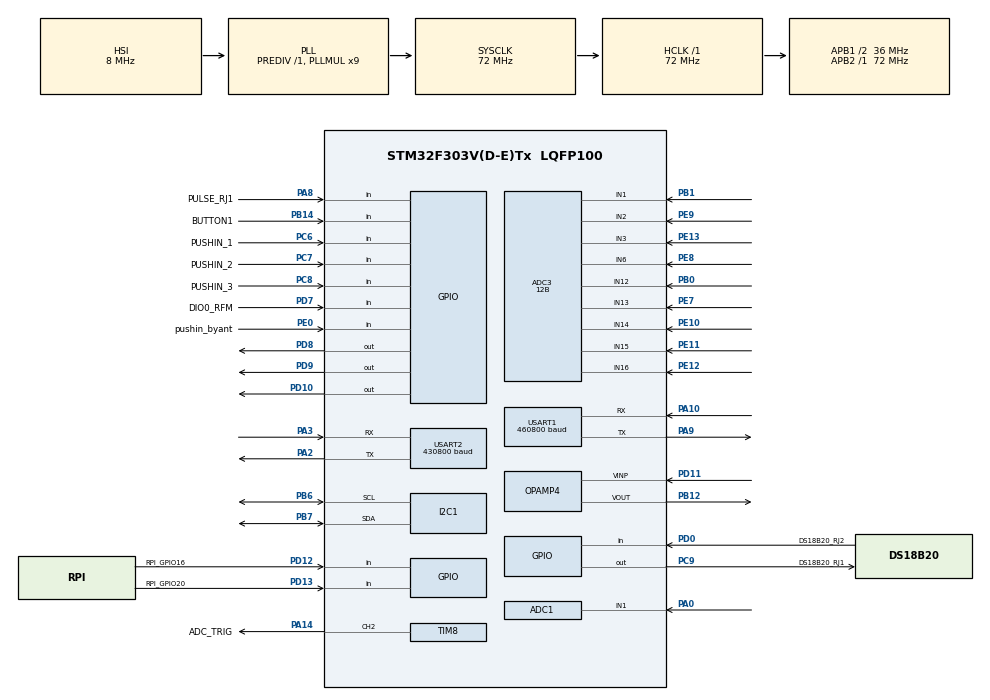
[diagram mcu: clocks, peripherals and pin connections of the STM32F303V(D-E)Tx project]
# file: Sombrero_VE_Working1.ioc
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ADC1.Channel-0\#ChannelRegularConversion=ADC_CHANNEL_1
ADC1.ClockPrescaler=ADC_CLOCK_SYNC_PCLK_DIV4
ADC1.ContinuousConvMode=ENABLE
ADC1.DMAContinuousRequests=ENABLE
ADC1.DataAlign=ADC_DATAALIGN_RIGHT
ADC1.DiscontinuousConvMode=DISABLE
ADC1.EOCSelection=ADC_EOC_SEQ_CONV
ADC1.EnableAnalogWatchDog1=false
ADC1.EnableAnalogWatchDog2=false
ADC1.EnableAnalogWatchDog3=false
ADC1.EnableInjectedConversion=DISABLE
ADC1.EnableRegularConversion=ENABLE
ADC1.ExternalTrigConv=ADC_EXTERNALTRIGCONV_T8_TRGO2
ADC1.ExternalTrigConvEdge=ADC_EXTERNALTRIGCONVEDGE_FALLING
ADC1.LowPowerAutoWait=DISABLE
ADC1.NbrOfConversion=1
ADC1.NbrOfConversionFlag=1
ADC1.Offset-0\#ChannelRegularConversion=0
ADC1.OffsetNumber-0\#ChannelRegularConversion=ADC_OFFSET_NONE
ADC1.Overrun=ADC_OVR_DATA_OVERWRITTEN
ADC1.Rank-0\#ChannelRegularConversion=1
ADC1.Resolution=ADC_RESOLUTION_12B
ADC1.SamplingTime-0\#ChannelRegularConversion=ADC_SAMPLETIME_601CYCLES_5
ADC1.ScanConvMode=ADC_SCAN_DISABLE
ADC1.master=1
ADC3.Channel-0\#ChannelRegularConversion=ADC_CHANNEL_12
ADC3.Channel-1\#ChannelRegularConversion=ADC_CHANNEL_1
ADC3.Channel-2\#ChannelRegularConversion=ADC_CHANNEL_13
ADC3.Channel-3\#ChannelRegularConversion=ADC_CHANNEL_6
ADC3.Channel-4\#ChannelRegularConversion=ADC_CHANNEL_2
ADC3.Channel-5\#ChannelRegularConversion=ADC_CHANNEL_14
ADC3.Channel-6\#ChannelRegularConversion=ADC_CHANNEL_15
ADC3.Channel-7\#ChannelRegularConversion=ADC_CHANNEL_16
ADC3.Channel-8\#ChannelRegularConversion=ADC_CHANNEL_3
ADC3.ClockPrescaler=ADC_CLOCK_SYNC_PCLK_DIV4
ADC3.ContinuousConvMode=ENABLE
ADC3.DMAContinuousRequests=ENABLE
ADC3.DataAlign=ADC_DATAALIGN_RIGHT
ADC3.DiscontinuousConvMode=DISABLE
ADC3.EOCSelection=ADC_EOC_SEQ_CONV
ADC3.EnableAnalogWatchDog1=false
ADC3.EnableAnalogWatchDog2=false
ADC3.EnableAnalogWatchDog3=false
ADC3.EnableInjectedConversion=DISABLE
ADC3.EnableRegularConversion=ENABLE
ADC3.ExternalTrigConv=ADC_EXTERNALTRIGCONV_T8_TRGO2
ADC3.ExternalTrigConvEdge=ADC_EXTERNALTRIGCONVEDGE_FALLING
ADC3.LowPowerAutoWait=DISABLE
ADC3.NbrOfConversion=9
ADC3.NbrOfConversionFlag=1
ADC3.Offset-0\#ChannelRegularConversion=0
ADC3.Offset-1\#ChannelRegularConversion=0
ADC3.Offset-2\#ChannelRegularConversion=0
ADC3.Offset-3\#ChannelRegularConversion=0
ADC3.Offset-4\#ChannelRegularConversion=0
ADC3.Offset-5\#ChannelRegularConversion=0
ADC3.Offset-6\#ChannelRegularConversion=0
ADC3.Offset-7\#ChannelRegularConversion=0
ADC3.Offset-8\#ChannelRegularConversion=0
ADC3.OffsetNumber-0\#ChannelRegularConversion=ADC_OFFSET_NONE
ADC3.OffsetNumber-1\#ChannelRegularConversion=ADC_OFFSET_NONE
ADC3.OffsetNumber-2\#ChannelRegularConversion=ADC_OFFSET_NONE
ADC3.OffsetNumber-3\#ChannelRegularConversion=ADC_OFFSET_NONE
ADC3.OffsetNumber-4\#ChannelRegularConversion=ADC_OFFSET_NONE
ADC3.OffsetNumber-5\#ChannelRegularConversion=ADC_OFFSET_NONE
ADC3.OffsetNumber-6\#ChannelRegularConversion=ADC_OFFSET_NONE
ADC3.OffsetNumber-7\#ChannelRegularConversion=ADC_OFFSET_NONE
ADC3.OffsetNumber-8\#ChannelRegularConversion=ADC_OFFSET_NONE
ADC3.Overrun=ADC_OVR_DATA_OVERWRITTEN
ADC3.Rank-0\#ChannelRegularConversion=1
ADC3.Rank-1\#ChannelRegularConversion=2
ADC3.Rank-2\#ChannelRegularConversion=3
ADC3.Rank-3\#ChannelRegularConversion=4
ADC3.Rank-4\#ChannelRegularConversion=5
ADC3.Rank-5\#ChannelRegularConversion=6
ADC3.Rank-6\#ChannelRegularConversion=7
ADC3.Rank-7\#ChannelRegularConversion=8
ADC3.Rank-8\#ChannelRegularConversion=9
ADC3.Resolution=ADC_RESOLUTION_12B
ADC3.SamplingTime-0\#ChannelRegularConversion=ADC_SAMPLETIME_601CYCLES_5
ADC3.SamplingTime-1\#ChannelRegularConversion=ADC_SAMPLETIME_601CYCLES_5
ADC3.SamplingTime-2\#ChannelRegularConversion=ADC_SAMPLETIME_601CYCLES_5
ADC3.SamplingTime-3\#ChannelRegularConversion=ADC_SAMPLETIME_601CYCLES_5
ADC3.SamplingTime-4\#ChannelRegularConversion=ADC_SAMPLETIME_601CYCLES_5
ADC3.SamplingTime-5\#ChannelRegularConversion=ADC_SAMPLETIME_601CYCLES_5
ADC3.SamplingTime-6\#ChannelRegularConversion=ADC_SAMPLETIME_601CYCLES_5
ADC3.SamplingTime-7\#ChannelRegularConversion=ADC_SAMPLETIME_601CYCLES_5
ADC3.SamplingTime-8\#ChannelRegularConversion=ADC_SAMPLETIME_601CYCLES_5
ADC3.ScanConvMode=ADC_SCAN_ENABLE
ADC3.master=1
Dma.ADC1.0.Direction=DMA_PERIPH_TO_MEMORY
Dma.ADC1.0.Instance=DMA1_Channel1
Dma.ADC1.0.MemDataAlignment=DMA_MDATAALIGN_HALFWORD
Dma.ADC1.0.MemInc=DMA_MINC_ENABLE
Dma.ADC1.0.Mode=DMA_CIRCULAR
Dma.ADC1.0.PeriphDataAlignment=DMA_PDATAALIGN_HALFWORD
Dma.ADC1.0.PeriphInc=DMA_PINC_DISABLE
Dma.ADC1.0.Priority=DMA_PRIORITY_HIGH
Dma.ADC3.1.Direction=DMA_PERIPH_TO_MEMORY
Dma.ADC3.1.Instance=DMA2_Channel5
Dma.ADC3.1.MemDataAlignment=DMA_MDATAALIGN_HALFWORD
Dma.ADC3.1.MemInc=DMA_MINC_ENABLE
Dma.ADC3.1.Mode=DMA_CIRCULAR
Dma.ADC3.1.PeriphDataAlignment=DMA_PDATAALIGN_HALFWORD
Dma.ADC3.1.PeriphInc=DMA_PINC_DISABLE
Dma.ADC3.1.Priority=DMA_PRIORITY_HIGH
Dma.Request0=ADC1
Dma.Request1=ADC3
Dma.Request2=USART1_RX
Dma.Request3=USART1_TX
Dma.USART1_RX.2.Direction=DMA_PERIPH_TO_MEMORY
Dma.USART1_RX.2.Instance=DMA1_Channel5
Dma.USART1_RX.2.MemDataAlignment=DMA_MDATAALIGN_BYTE
Dma.USART1_RX.2.MemInc=DMA_MINC_ENABLE
Dma.USART1_RX.2.Mode=DMA_NORMAL
Dma.USART1_RX.2.PeriphDataAlignment=DMA_PDATAALIGN_BYTE
Dma.USART1_RX.2.PeriphInc=DMA_PINC_DISABLE
Dma.USART1_RX.2.Priority=DMA_PRIORITY_LOW
Dma.USART1_TX.3.Direction=DMA_MEMORY_TO_PERIPH
Dma.USART1_TX.3.Instance=DMA1_Channel4
Dma.USART1_TX.3.MemDataAlignment=DMA_MDATAALIGN_BYTE
Dma.USART1_TX.3.MemInc=DMA_MINC_ENABLE
Dma.USART1_TX.3.Mode=DMA_NORMAL
Dma.USART1_TX.3.PeriphDataAlignment=DMA_PDATAALIGN_BYTE
Dma.USART1_TX.3.PeriphInc=DMA_PINC_DISABLE
Dma.USART1_TX.3.Priority=DMA_PRIORITY_LOW
I2C1.Timing=0x10808DD3
Mcu.Family=STM32F3
Mcu.Name=STM32F303V(D-E)Tx
Mcu.Package=LQFP100
NVIC.ADC1_2_IRQn=true\:0\:0\:false\:false\:true\:true
NVIC.ADC3_IRQn=true\:0\:0\:false\:false\:true\:true
NVIC.DMA1_Channel1_IRQn=true\:0\:0\:false\:false\:true\:false
NVIC.DMA1_Channel4_IRQn=true\:0\:0\:false\:false\:true\:false
NVIC.DMA1_Channel5_IRQn=true\:0\:0\:false\:false\:true\:false
NVIC.DMA2_Channel5_IRQn=true\:0\:0\:false\:false\:true\:false
NVIC.PriorityGroup=NVIC_PRIORITYGROUP_4
NVIC.USART1_IRQn=true\:0\:0\:false\:false\:true\:true
OPAMP4.SelfCalibration=Disable
PA0.Mode=IN1-Single-Ended
PA0.Signal=ADC1_IN1
PA10.Mode=Asynchronous
PA10.Signal=USART1_RX
PA14.GPIO_Label=ADC_TRIG
PA14.GPIO_PuPd=GPIO_NOPULL
PA14.Signal=S_TIM8_CH2
PA15.Signal=SPI1_NSS
PA2.Mode=Asynchronous
PA2.Signal=USART2_TX
PA3.Mode=Asynchronous
PA3.Signal=USART2_RX
PA8.GPIO_Label=PULSE_RJ1
PA8.Signal=GPIO_Input
PA9.Mode=Asynchronous
PA9.Signal=USART1_TX
PB0.Mode=IN12-Single-Ended
PB0.Signal=ADC3_IN12
PB1.Mode=IN1-Single-Ended
PB1.Signal=ADC3_IN1
PB12.Mode=Follower
PB12.Signal=OPAMP4_VOUT
PB14.GPIO_Label=BUTTON1
PB14.Signal=GPIO_Input
PB3.Signal=SPI1_SCK
PB4.Signal=SPI1_MISO
PB5.Signal=SPI1_MOSI
PB6.Mode=I2C
PB6.Signal=I2C1_SCL
PB7.Mode=I2C
PB7.Signal=I2C1_SDA
PB8.Signal=USART3_RX
PB9.Signal=USART3_TX
PC10.Signal=UART4_TX
PC11.Signal=UART4_RX
PC14-OSC32_IN.Mode=LSE-External-Oscillator
PC14-OSC32_IN.Signal=RCC_OSC32_IN
PC15-OSC32_OUT.Mode=LSE-External-Oscillator
PC15-OSC32_OUT.Signal=RCC_OSC32_OUT
PC6.GPIO_Label=PUSHIN_1
PC6.Signal=GPIO_Input
PC7.GPIO_Label=PUSHIN_2
PC7.Signal=GPIO_Input
PC8.GPIO_Label=PUSHIN_3
PC8.Signal=GPIO_Input
PC9.GPIO_Label=DS18B20_RJ1
PC9.Signal=GPIO_Output
PD0.GPIO_Label=DS18B20_RJ2
PD0.Signal=GPIO_Input
PD10.Signal=GPIO_Output
PD11.Mode=Follower
PD11.Signal=OPAMP4_VINP
PD12.GPIO_Label=RPI_GPIO16
PD12.Signal=GPIO_Input
PD13.GPIO_Label=RPI_GPIO20
PD13.Signal=GPIO_Input
PD7.GPIO_Label=DIO0_RFM
PD7.Signal=GPIO_Input
PD8.Signal=GPIO_Output
PD9.Signal=GPIO_Output
PE0.GPIO_Label=pushin_byant
PE0.Signal=GPIO_Input
PE10.Mode=IN14-Single-Ended
PE10.Signal=ADC3_IN14
PE11.Mode=IN15-Single-Ended
PE11.Signal=ADC3_IN15
PE12.Mode=IN16-Single-Ended
PE12.Signal=ADC3_IN16
PE13.Mode=IN3-Single-Ended
PE13.Signal=ADC3_IN3
PE7.Mode=IN13-Single-Ended
PE7.Signal=ADC3_IN13
PE8.Signal=ADCx_IN6P
PE9.Mode=IN2-Single-Ended
PE9.Signal=ADC3_IN2
PF0-OSC_IN.Mode=HSE-External-Oscillator
PF0-OSC_IN.Signal=RCC_OSC_IN
PF1-OSC_OUT.Mode=HSE-External-Oscillator
PF1-OSC_OUT.Signal=RCC_OSC_OUT
ProjectManager.HeapSize=0x200
ProjectManager.StackSize=0x400
ProjectManager.TargetToolchain=Makefile
RCC.AHBFreq_Value=72000000
RCC.APB1CLKDivider=RCC_HCLK_DIV2
RCC.APB1Freq_Value=36000000
RCC.APB1TimFreq_Value=72000000
RCC.APB2Freq_Value=72000000
RCC.APB2TimFreq_Value=72000000
RCC.CortexFreq_Value=72000000
RCC.HCLKFreq_Value=72000000
RCC.HSE_VALUE=8000000
RCC.HSI_VALUE=8000000
RCC.I2c1ClockSelection=RCC_I2C1CLKSOURCE_SYSCLK
RCC.PLLMUL=RCC_PLL_MUL9
RCC.PRESCALERUSB=RCC_USBCLKSOURCE_PLL_DIV1_5
RCC.RTCClockSelection=RCC_RTCCLKSOURCE_LSE
RCC.SYSCLKFreq_VALUE=72000000
RCC.SYSCLKSourceVirtual=RCC_SYSCLKSOURCE_PLLCLK
RCC.USBFreq_Value=48000000
RCC.Uart4ClockSelection=RCC_UART4CLKSOURCE_SYSCLK
RCC.Usart1ClockSelection=RCC_USART1CLKSOURCE_SYSCLK
RCC.Usart2ClockSelection=RCC_USART2CLKSOURCE_SYSCLK
RCC.Usart3ClockSelection=RCC_USART3CLKSOURCE_SYSCLK
SH.ADCx_IN6P.0=ADC3_IN6,IN6-Single-Ended
SH.S_TIM8_CH2.0=TIM8_CH2,PWM Generation2 CH2
TIM8.Channel-PWM\ Generation2\ CH2=TIM_CHANNEL_2
TIM8.OCFastMode_PWM-PWM\ Generation2\ CH2=TIM_OCFAST_DISABLE
TIM8.Period=9999
TIM8.Prescaler=71
TIM8.TIM_MasterOutputTrigger2=TIM_TRGO2_OC2REF
USART1.BaudRate=460800
USART1.DMADisableonRxErrorParam=ADVFEATURE_DMA_DISABLEONRXERROR
USART1.VirtualMode-Asynchronous=VM_ASYNC
USART2.BaudRate=430800
USART2.DMADisableonRxErrorParam=ADVFEATURE_DMA_DISABLEONRXERROR
USART2.VirtualMode-Asynchronous=VM_ASYNC
board=custom

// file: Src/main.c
/**
  ******************************************************************************
  * @file           : main.c
  * @brief          : Main program body
  ******************************************************************************
  ** This notice applies to any and all portions of this file
  * that are not between comment pairs USER CODE BEGIN and
  * USER CODE END. Other portions of this file, whether
  * inserted by the user or by software development tools
  * are owned by their respective copyright owners.
  *
  * COPYRIGHT(c) 2020 STMicroelectronics
  *
  * Redistribution and use in source and binary forms, with or without modification,
  * are permitted provided that the following conditions are met:
  *   1. Redistributions of source code must retain the above copyright notice,
  *      this list of conditions and the following disclaimer.
  *   2. Redistributions in binary form must reproduce the above copyright notice,
  *      this list of conditions and the following disclaimer in the documentation
  *      and/or other materials provided with the distribution.
  *   3. Neither the name of STMicroelectronics nor the names of its contributors
  *      may be used to endorse or promote products derived from this software
  *      without specific prior written permission.
  *
  * THIS SOFTWARE IS PROVIDED BY THE COPYRIGHT HOLDERS AND CONTRIBUTORS "AS IS"
  * AND ANY EXPRESS OR IMPLIED WARRANTIES, INCLUDING, BUT NOT LIMITED TO, THE
  * IMPLIED WARRANTIES OF MERCHANTABILITY AND FITNESS FOR A PARTICULAR PURPOSE ARE
  * DISCLAIMED. IN NO EVENT SHALL THE COPYRIGHT HOLDER OR CONTRIBUTORS BE LIABLE
  * FOR ANY DIRECT, INDIRECT, INCIDENTAL, SPECIAL, EXEMPLARY, OR CONSEQUENTIAL
  * DAMAGES (INCLUDING, BUT NOT LIMITED TO, PROCUREMENT OF SUBSTITUTE GOODS OR
  * SERVICES; LOSS OF USE, DATA, OR PROFITS; OR BUSINESS INTERRUPTION) HOWEVER
  * CAUSED AND ON ANY THEORY OF LIABILITY, WHETHER IN CONTRACT, STRICT LIABILITY,
  * OR TORT (INCLUDING NEGLIGENCE OR OTHERWISE) ARISING IN ANY WAY OUT OF THE USE
  * OF THIS SOFTWARE, EVEN IF ADVISED OF THE POSSIBILITY OF SUCH DAMAGE.
  *
  ******************************************************************************
  */
#include "main.h"
#include "stm32f3xx_hal.h"
#include "adc.h"
#include "dma.h"
#include "i2c.h"
#include "opamp.h"
#include "tim.h"
#include "usart.h"
#include "gpio.h"

/* USER CODE BEGIN Includes */
#include <math.h>
#include <string.h>
#include <stdbool.h>
#include <stdint.h>
/* USER CODE END Includes */

/* USER CODE BEGIN PV */
/* Private variables ---------------------------------------------------------*/

//#define true 1
//#define false 0
#define MID_ADC_READING 2048
int cycles = 125;
// Serial output buffer
extern char log_buffer[150];

// Flag
bool readings_ready = false;

extern const uint16_t adc_buff_half_size;

// Calibration
const float VOLTS_PER_DIV = (3.3 / 4096.0);
float VCAL = 266.1238757156; // note - single-phase board
//float VCAL = 224.4135906687; // note - 3-phase board
float ICAL = 90.9;

// ISR accumulators
typedef struct channel_
{
  int64_t sum_P;
  uint64_t sum_V_sq;
  uint64_t sum_I_sq;
  int32_t sum_V;
  int32_t sum_I;
  uint32_t count;

} channel_t;

uint32_t pulseCount = 0;

static channel_t channels[CTn];
static channel_t channels_ready[CTn];

int16_t sample_V, sample_I, signed_V, signed_I;
int16_t sample_V_Hz, signed_V_Hz, previous_V_Hz, cycles_Hz;
bool hz_ready = 0;
int32_t Hz_t1 = 0;

#define Hz_ARRAY_SIZE 20
uint32_t Hz_array[Hz_ARRAY_SIZE] = {0};
int Hz_array_counter = 0;
uint32_t Hz_sum = 0;
bool Hz_value_ready = false;

/* USER CODE END PV */

void SystemClock_Config(void);

/* USER CODE BEGIN PFP */
/* Private function prototypes -----------------------------------------------*/

/* USER CODE END PFP */

/* USER CODE BEGIN 0 */
void process_frame(uint16_t offset)
{
  HAL_GPIO_WritePin(GPIOD, GPIO_PIN_10, GPIO_PIN_SET);
  //CLEAR_TO_GO = false;

  for (int i = 0; i < adc_buff_half_size; i += CTn)
  {

    // zero-crossing detection //
    sample_V_Hz = adc1_dma_buff[offset + i];
    signed_V_Hz = sample_V_Hz - MID_ADC_READING;

    if (signed_V_Hz > 0 && previous_V_Hz < 0)
    {
      previous_V_Hz = signed_V_Hz;
      cycles_Hz++;
    }
    else
    {
      previous_V_Hz = signed_V_Hz;
    }

    // for example, 125 upwards-only-zero-crossings approx 2.5 seconds @ 50Hz.
    if (cycles_Hz == cycles)
    {
      cycles_Hz = 0;
      hz_ready = true;
    }

    if (hz_ready)
    {

      hz_ready = false;

      // copy and reset accu.
      for (int ch = 0; ch < CTn; ch++)
      {
        channel_t *channel = &channels[ch];
        channel_t *chn = &channels_ready[ch];
        // Copy accumulators for use in main loop
        memcpy((void *)chn, (void *)channel, sizeof(channel_t));
        // Reset accumulators to zero ready for next set of measurements
        memset((void *)channel, 0, sizeof(channel_t));
      }

      readings_ready = true;
    }

    // Cycle through channels, accumulating
    for (int ch = 0; ch < CTn; ch++)
    {

      channel_t *channel = &channels[ch];

      // ----------------------------------------
      // Voltage
      sample_V = adc1_dma_buff[offset + i + ch];
      signed_V = sample_V - MID_ADC_READING;
      channel->sum_V += signed_V;
      channel->sum_V_sq += signed_V * signed_V;
      // ----------------------------------------
      // Current
      sample_I = adc3_dma_buff[offset + i + ch];
      signed_I = sample_I - MID_ADC_READING;
      channel->sum_I += signed_I;
      channel->sum_I_sq += signed_I * signed_I;
      // ----------------------------------------
      // Power
      channel->sum_P += signed_V * signed_I;

      channel->count++;
    }
  }
  //CLEAR_TO_GO = true;
  HAL_GPIO_WritePin(GPIOD, GPIO_PIN_10, GPIO_PIN_RESET);
}

/* USER CODE END 0 */

int main(void)
{
  /* USER CODE BEGIN 1 */
  float V_RATIO = VCAL * VOLTS_PER_DIV;
  float I_RATIO = ICAL * VOLTS_PER_DIV;
  /* USER CODE END 1 */

  /* MCU Configuration----------------------------------------------------------*/

  /* Reset of all peripherals, Initializes the Flash interface and the Systick. */
  HAL_Init();

  /* Configure the system clock */
  SystemClock_Config();

  /* Initialize all configured peripherals */
  MX_GPIO_Init();
  MX_DMA_Init();
  MX_USART2_UART_Init();
  MX_OPAMP4_Init();
  MX_ADC3_Init();
  MX_TIM8_Init();
  MX_I2C1_Init();
  MX_ADC1_Init();
  MX_USART1_UART_Init();
  /* USER CODE BEGIN 2 */

  debug_printf("start, conn. VT\r\n");
  sprintf(log_buffer, "%d\r\n", adc_buff_half_size);

  HAL_ADCEx_Calibration_Start(&hadc1, ADC_SINGLE_ENDED);
  HAL_ADCEx_Calibration_Start(&hadc3, ADC_SINGLE_ENDED);

  HAL_OPAMP_Start(&hopamp4);

  HAL_Delay(2);

  start_ADCs();

  /* USER CODE END 2 */

  /* Infinite loop */
  /* USER CODE BEGIN WHILE */

  while (1)
  {
    if (conv_cplt_flag)
    {
      conv_cplt_flag = false;
      process_frame(0);
    }
    if (conv_hfcplt_flag)
    {
      conv_hfcplt_flag = false;
      process_frame(adc_buff_half_size);
    }

    if (readings_ready)
    {
      HAL_GPIO_WritePin(GPIOD, GPIO_PIN_9, GPIO_PIN_SET);
      readings_ready = false;
      //process_ds18b20s();

      for (int ch = 0; ch < CTn; ch++)
      {
        channel_t *chn = &channels_ready[ch];

        float Vmean = (float)chn->sum_V / (float)chn->count;
        float Imean = (float)chn->sum_I / (float)chn->count;

        float f32sum_V_sq_avg = (float)chn->sum_V_sq / (float)chn->count;
        f32sum_V_sq_avg -= (Vmean * Vmean); // offset removal

        float f32sum_I_sq_avg = (float)chn->sum_I_sq / (float)chn->count;
        f32sum_I_sq_avg -= (Imean * Imean); // offset removal

        if (f32sum_V_sq_avg < 0) // if offset removal cause a negative number,
          f32sum_V_sq_avg = 0;   // make it 0 to avoid a nan at sqrt.
        if (f32sum_I_sq_avg < 0)
          f32sum_I_sq_avg = 0;

        float Vrms = V_RATIO * sqrtf(f32sum_V_sq_avg);
        float Irms = I_RATIO * sqrtf(f32sum_I_sq_avg);

        float f32_sum_P_avg = (float)chn->sum_P / (float)chn->count;
        float mean_P = f32_sum_P_avg - (Vmean * Imean); // offset removal
        float realPower = V_RATIO * I_RATIO * mean_P;

        float apparentPower = Vrms * Irms;

        float powerFactor;
        // calculate PF, preventing dividing by zero error.
        if (apparentPower != 0)
        {
          powerFactor = realPower / apparentPower;
        }
        else
          powerFactor = 0;

        int _ch = ch + 1;
        sprintf(log_buffer, "V%d:%.2f,I%d:%.3f,RP%d:%.1f,AP%d:%.1f,PF%d:%.3f,C%d:%ld,", _ch, Vrms, _ch, Irms, _ch, realPower, _ch, apparentPower, _ch, powerFactor, _ch, chn->count);
        debug_printf(log_buffer);

        uint32_t current_millis = HAL_GetTick();
        sprintf(log_buffer, "millis:%ld\r\n", current_millis);
        debug_printf(log_buffer);
      }
      sprintf(log_buffer, "PC:%ld\r\n", pulseCount);
      debug_printf(log_buffer);

      uint32_t Hz_t2 = HAL_GetTick();
      uint32_t Hz_td = (Hz_t2 - Hz_t1);
      //sprintf(log_buffer, "Hz_td:%ld\r\n", Hz_td);
      //debug_printf(log_buffer);

      Hz_array[Hz_array_counter] = Hz_td;
      Hz_array_counter++;
      //if (Hz_array_counter
      //sprintf(log_buffer, "Hz_array_counter:%d\r\n", Hz_array_counter);
      //debug_printf(log_buffer);
      Hz_t1 = Hz_t2;
      if (Hz_array_counter >= Hz_ARRAY_SIZE)
      {
        Hz_value_ready = true;
        Hz_array_counter = 0;
      }
      for (int i = 0; i < Hz_ARRAY_SIZE; i++)
      {
        //sprintf(log_buffer, "Hz_ARRAY:%ld :%d\r\n", Hz_array[i], i);
        //debug_printf(log_buffer);
        Hz_sum += Hz_array[i];
      }
      //}
      float Hz_value = 1000.0/((float)Hz_sum / (cycles*Hz_ARRAY_SIZE));
      sprintf(log_buffer, "Hz_sum:%.2f:Ready?:%d\r\n", Hz_value, Hz_value_ready);
      debug_printf(log_buffer);
      Hz_sum = 0;

      HAL_GPIO_WritePin(GPIOD, GPIO_PIN_9, GPIO_PIN_RESET);
    }
  /* USER CODE END WHILE */

  }

}

void SystemClock_Config(void)
{

  RCC_OscInitTypeDef RCC_OscInitStruct;
  RCC_ClkInitTypeDef RCC_ClkInitStruct;
  RCC_PeriphCLKInitTypeDef PeriphClkInit;

    /**Initializes the CPU, AHB and APB busses clocks
    */
  RCC_OscInitStruct.OscillatorType = RCC_OSCILLATORTYPE_HSI;
  RCC_OscInitStruct.HSIState = RCC_HSI_ON;
  RCC_OscInitStruct.HSICalibrationValue = 16;
  RCC_OscInitStruct.PLL.PLLState = RCC_PLL_ON;
  RCC_OscInitStruct.PLL.PLLSource = RCC_PLLSOURCE_HSI;
  RCC_OscInitStruct.PLL.PLLMUL = RCC_PLL_MUL9;
  RCC_OscInitStruct.PLL.PREDIV = RCC_PREDIV_DIV1;
  if (HAL_RCC_OscConfig(&RCC_OscInitStruct) != HAL_OK)
  {
    _Error_Handler(__FILE__, __LINE__);
  }

    /**Initializes the CPU, AHB and APB busses clocks
    */
  RCC_ClkInitStruct.ClockType = RCC_CLOCKTYPE_HCLK|RCC_CLOCKTYPE_SYSCLK
                              |RCC_CLOCKTYPE_PCLK1|RCC_CLOCKTYPE_PCLK2;
  RCC_ClkInitStruct.SYSCLKSource = RCC_SYSCLKSOURCE_PLLCLK;
  RCC_ClkInitStruct.AHBCLKDivider = RCC_SYSCLK_DIV1;
  RCC_ClkInitStruct.APB1CLKDivider = RCC_HCLK_DIV2;
  RCC_ClkInitStruct.APB2CLKDivider = RCC_HCLK_DIV1;

  if (HAL_RCC_ClockConfig(&RCC_ClkInitStruct, FLASH_LATENCY_2) != HAL_OK)
  {
    _Error_Handler(__FILE__, __LINE__);
  }

  PeriphClkInit.PeriphClockSelection = RCC_PERIPHCLK_USART1|RCC_PERIPHCLK_USART2
                              |RCC_PERIPHCLK_I2C1|RCC_PERIPHCLK_TIM8;
  PeriphClkInit.Usart1ClockSelection = RCC_USART1CLKSOURCE_SYSCLK;
  PeriphClkInit.Usart2ClockSelection = RCC_USART2CLKSOURCE_SYSCLK;
  PeriphClkInit.I2c1ClockSelection = RCC_I2C1CLKSOURCE_SYSCLK;
  PeriphClkInit.Tim8ClockSelection = RCC_TIM8CLK_HCLK;
  if (HAL_RCCEx_PeriphCLKConfig(&PeriphClkInit) != HAL_OK)
  {
    _Error_Handler(__FILE__, __LINE__);
  }

    /**Configure the Systick interrupt time
    */
  HAL_SYSTICK_Config(HAL_RCC_GetHCLKFreq()/1000);

    /**Configure the Systick
    */
  HAL_SYSTICK_CLKSourceConfig(SYSTICK_CLKSOURCE_HCLK);

  /* SysTick_IRQn interrupt configuration */
  HAL_NVIC_SetPriority(SysTick_IRQn, 0, 0);
}

void _Error_Handler(char *file, int line)
{
  while (1)
  {
  }
}

/************************ (C) COPYRIGHT STMicroelectronics *****END OF FILE****/
